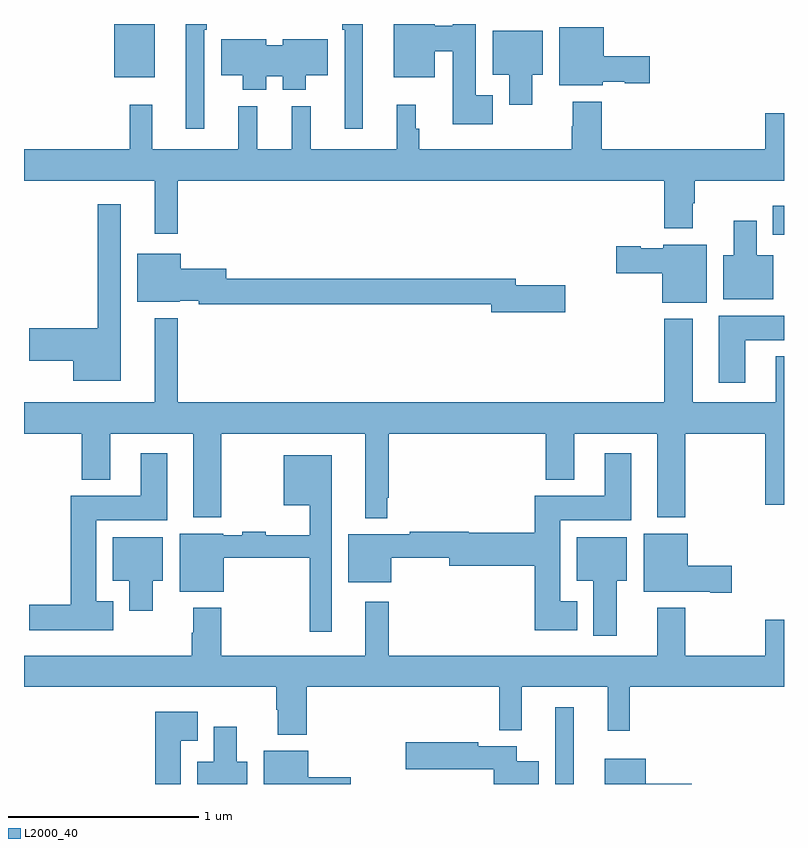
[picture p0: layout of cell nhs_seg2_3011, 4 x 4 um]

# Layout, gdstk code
import gdstk
lib = gdstk.Library(unit=1e-6, precision=1e-09)
def R(c, l, rs):  # rectangles x0, y0, x1, y1
    for r in rs: c.add(gdstk.rectangle(r[:2], r[2:], *l))
def P(c, l, *ps):  # polygons
    for p in ps: c.add(gdstk.Polygon(p, *l))
L2000_40 = (2000, 40)

nhs_seg2_3011 = lib.new_cell('nhs_seg2_3011')
R(nhs_seg2_3011, L2000_40, [(271.797,637.8,271.894,638.203), (272.942,640.691,273,640.843), (269.474,641.519,269.689,641.8)])
P(nhs_seg2_3011, L2000_40, [(271.468,641.425),(271.378,641.425),(271.378,641.8),(271.256,641.8),(271.256,641.792),(271.162,641.792),(271.162,641.8),(270.947,641.8),(270.947,641.519),(271.162,641.519),(271.162,641.656),(271.256,641.656),(271.256,641.273),(271.468,641.273)],
  [(269.949,641.771),(269.962,641.771),(269.962,641.8),(269.852,641.8),(269.852,641.25),(269.949,641.25)],
  [(270.784,641.8),(270.675,641.8),(270.675,641.771),(270.687,641.771),(270.687,641.25),(270.784,641.25)],
  [(272.046,641.495),(272.163,641.495),(272.163,641.488),(272.293,641.488),(272.293,641.63),(272.05,641.63),(272.05,641.782),(271.817,641.782),(271.817,641.477),(272.046,641.477)],
  [(271.675,641.534),(271.729,641.534),(271.729,641.764),(271.466,641.764),(271.466,641.534),(271.553,641.534),(271.553,641.376),(271.675,641.376)],
  [(270.274,641.524),(270.362,641.524),(270.362,641.453),(270.484,641.453),(270.484,641.531),(270.598,641.531),(270.598,641.719),(270.362,641.719),(270.362,641.689),(270.274,641.689),(270.274,641.719),(270.038,641.719),(270.038,641.531),(270.152,641.531),(270.152,641.453),(270.274,641.453)],
  [(272.042,641.392),(271.889,641.392),(271.889,641.261),(271.882,641.261),(271.882,641.14),(271.079,641.14),(271.079,641.249),(271.061,641.249),(271.061,641.374),(270.962,641.374),(270.962,641.14),(270.509,641.14),(270.509,641.368),(270.41,641.368),(270.41,641.14),(270.227,641.14),(270.227,641.368),(270.128,641.368),(270.128,641.14),(269.675,641.14),(269.675,641.374),(269.557,641.374),(269.557,641.14),(269,641.14),(269,640.976),(269.687,640.976),(269.687,640.695),(269.809,640.695),(269.809,640.976),(272.369,640.976),(272.369,640.724),(272.521,640.724),(272.521,640.856),(272.529,640.856),(272.529,640.976),(273,640.976),(273,641.329),(272.9,641.329),(272.9,641.14),(272.042,641.14)],
  [(269.509,640.852),(269.388,640.852),(269.388,640.199),(269.028,640.199),(269.028,640.028),(269.258,640.028),(269.258,639.923),(269.509,639.923)],
  [(272.944,640.582),(272.857,640.582),(272.857,640.765),(272.735,640.765),(272.735,640.582),(272.681,640.582),(272.681,640.352),(272.944,640.352)],
  [(272.593,640.639),(272.364,640.639),(272.364,640.621),(272.247,640.621),(272.247,640.629),(272.118,640.629),(272.118,640.487),(272.36,640.487),(272.36,640.334),(272.593,640.334)],
  [(271.849,640.424),(271.588,640.424),(271.588,640.46),(270.064,640.46),(270.064,640.513),(269.824,640.513),(269.824,640.591),(269.597,640.591),(269.597,640.337),(269.82,640.337),(269.82,640.343),(269.92,640.343),(269.92,640.324),(271.46,640.324),(271.46,640.282),(271.849,640.282)],
  [(272.797,640.136),(273,640.136),(273,640.264),(272.657,640.264),(272.657,639.912),(272.797,639.912)],
  [(270.912,639.307),(270.919,639.307),(270.919,639.644),(271.745,639.644),(271.745,639.401),(271.897,639.401),(271.897,639.644),(272.333,639.644),(272.333,639.203),(272.481,639.203),(272.481,639.644),(272.9,639.644),(272.9,639.27),(273,639.27),(273,640.051),(272.957,640.051),(272.957,639.808),(272.521,639.808),(272.521,640.249),(272.369,640.249),(272.369,639.808),(269.809,639.808),(269.809,640.252),(269.687,640.252),(269.687,639.808),(269,639.808),(269,639.644),(269.303,639.644),(269.303,639.401),(269.455,639.401),(269.455,639.644),(269.891,639.644),(269.891,639.203),(270.039,639.203),(270.039,639.644),(270.797,639.644),(270.797,639.2),(270.912,639.2)],
  [(271.912,638.761),(271.822,638.761),(271.822,639.188),(272.197,639.188),(272.197,639.541),(272.057,639.541),(272.057,639.316),(271.688,639.316),(271.688,639.122),(271.342,639.122),(271.342,639.128),(271.03,639.128),(271.03,639.115),(270.707,639.115),(270.707,638.861),(270.934,638.861),(270.934,638.992),(271.238,638.992),(271.238,638.95),(271.688,638.95),(271.688,638.609),(271.912,638.609)],
  [(269.47,638.761),(269.38,638.761),(269.38,639.188),(269.755,639.188),(269.755,639.541),(269.615,639.541),(269.615,639.316),(269.246,639.316),(269.246,638.744),(269.028,638.744),(269.028,638.609),(269.47,638.609)],
  [(270.619,639.529),(270.368,639.529),(270.368,639.266),(270.505,639.266),(270.505,639.109),(270.272,639.109),(270.272,639.128),(270.148,639.128),(270.148,639.108),(270.048,639.108),(270.048,639.118),(269.819,639.118),(269.819,638.813),(270.052,638.813),(270.052,638.992),(270.505,638.992),(270.505,638.601),(270.619,638.601)],
  [(272.725,638.948),(272.494,638.948),(272.494,639.118),(272.261,639.118),(272.261,638.813),(272.612,638.813),(272.612,638.806),(272.725,638.806)],
  [(269.677,638.87),(269.731,638.87),(269.731,639.1),(269.468,639.1),(269.468,638.87),(269.555,638.87),(269.555,638.712),(269.677,638.712)],
  [(272.119,638.87),(272.173,638.87),(272.173,639.1),(271.91,639.1),(271.91,638.87),(271.997,638.87),(271.997,638.58),(272.119,638.58)],
  [(270.488,638.312),(271.501,638.312),(271.501,638.084),(271.619,638.084),(271.619,638.312),(272.072,638.312),(272.072,638.079),(272.189,638.079),(272.189,638.312),(273,638.312),(273,638.665),(272.9,638.665),(272.9,638.476),(272.481,638.476),(272.481,638.728),(272.333,638.728),(272.333,638.476),(270.919,638.476),(270.919,638.758),(270.797,638.758),(270.797,638.476),(270.039,638.476),(270.039,638.728),(269.891,638.728),(269.891,638.597),(269.884,638.597),(269.884,638.476),(269,638.476),(269,638.312),(270.328,638.312),(270.328,638.192),(270.335,638.192),(270.335,638.06),(270.488,638.06)],
  [(269.824,638.027),(269.914,638.027),(269.914,638.179),(269.69,638.179),(269.69,637.8),(269.824,637.8)],
  [(270.175,637.918),(270.121,637.918),(270.121,638.101),(269.999,638.101),(269.999,637.918),(269.912,637.918),(269.912,637.8),(270.175,637.8)],
  [(271.708,637.921),(271.594,637.921),(271.594,637.999),(271.392,637.999),(271.392,638.019),(271.008,638.019),(271.008,637.877),(271.472,637.877),(271.472,637.8),(271.708,637.8)],
  [(270.721,637.836),(270.496,637.836),(270.496,637.975),(270.263,637.975),(270.263,637.8),(270.721,637.8)],
  [(272.515,637.802),(272.272,637.802),(272.272,637.933),(272.057,637.933),(272.057,637.8),(272.515,637.8)])

lib.write_gds('nhs_seg2_3011.gds')
